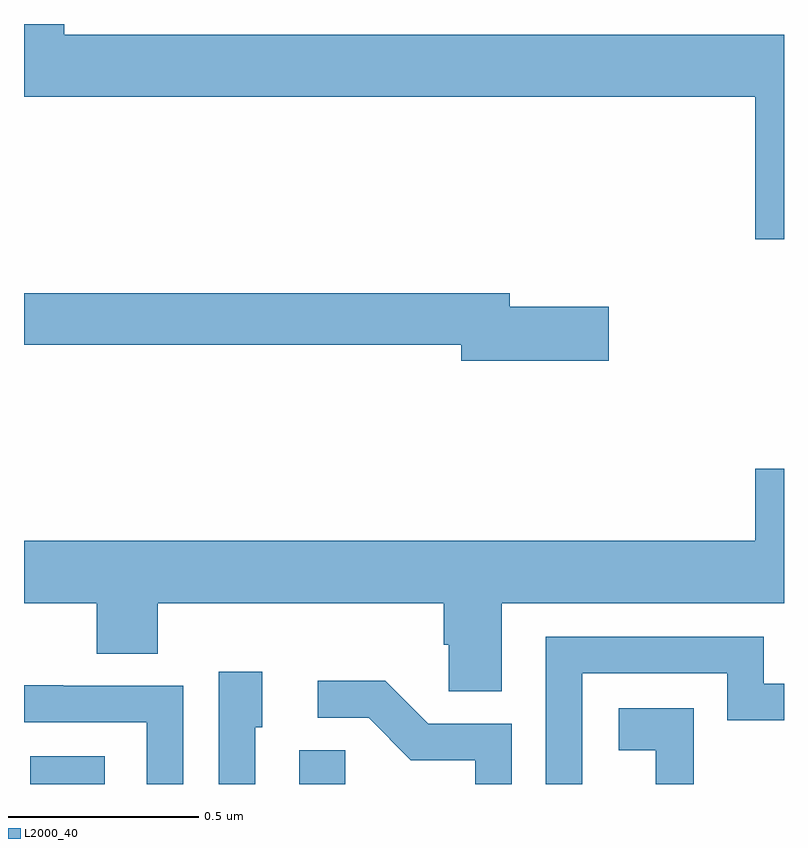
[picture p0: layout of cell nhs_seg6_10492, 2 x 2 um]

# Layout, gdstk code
import gdstk
lib = gdstk.Library(unit=1e-6, precision=1e-09)
def R(c, l, rs):  # rectangles x0, y0, x1, y1
    for r in rs: c.add(gdstk.rectangle(r[:2], r[2:], *l))
def P(c, l, *ps):  # polygons
    for p in ps: c.add(gdstk.Polygon(p, *l))
L2000_40 = (2000, 40)

nhs_seg6_10492 = lib.new_cell('nhs_seg6_10492')
R(nhs_seg6_10492, L2000_40, [(247.016,973.5,247.213,973.573), (247.724,973.5,247.845,973.589)])
P(nhs_seg6_10492, L2000_40, [(249,975.472),(247.106,975.472),(247.106,975.5),(247,975.5),(247,975.308),(248.924,975.308),(248.924,974.934),(249,974.934)],
  [(248.539,974.756),(248.278,974.756),(248.278,974.792),(247,974.792),(247,974.656),(248.15,974.656),(248.15,974.614),(248.539,974.614)],
  [(248.257,973.976),(249,973.976),(249,974.329),(248.924,974.329),(248.924,974.14),(247,974.14),(247,973.976),(247.192,973.976),(247.192,973.843),(247.352,973.843),(247.352,973.976),(248.105,973.976),(248.105,973.867),(248.118,973.867),(248.118,973.744),(248.257,973.744)],
  [(248.469,973.791),(248.85,973.791),(248.85,973.668),(249,973.668),(249,973.764),(248.947,973.764),(248.947,973.887),(248.373,973.887),(248.373,973.5),(248.469,973.5)],
  [(247.608,973.65),(247.627,973.65),(247.627,973.795),(247.512,973.795),(247.512,973.5),(247.608,973.5)],
  [(248.283,973.659),(248.064,973.659),(247.951,973.772),(247.773,973.772),(247.773,973.674),(247.907,973.674),(248.018,973.563),(248.187,973.563),(248.187,973.5),(248.283,973.5)],
  [(247.419,973.758),(247.103,973.758),(247.103,973.76),(247,973.76),(247,973.662),(247.323,973.662),(247.323,973.5),(247.419,973.5)],
  [(248.763,973.699),(248.565,973.699),(248.565,973.589),(248.663,973.589),(248.663,973.5),(248.763,973.5)])

lib.write_gds('nhs_seg6_10492.gds')
